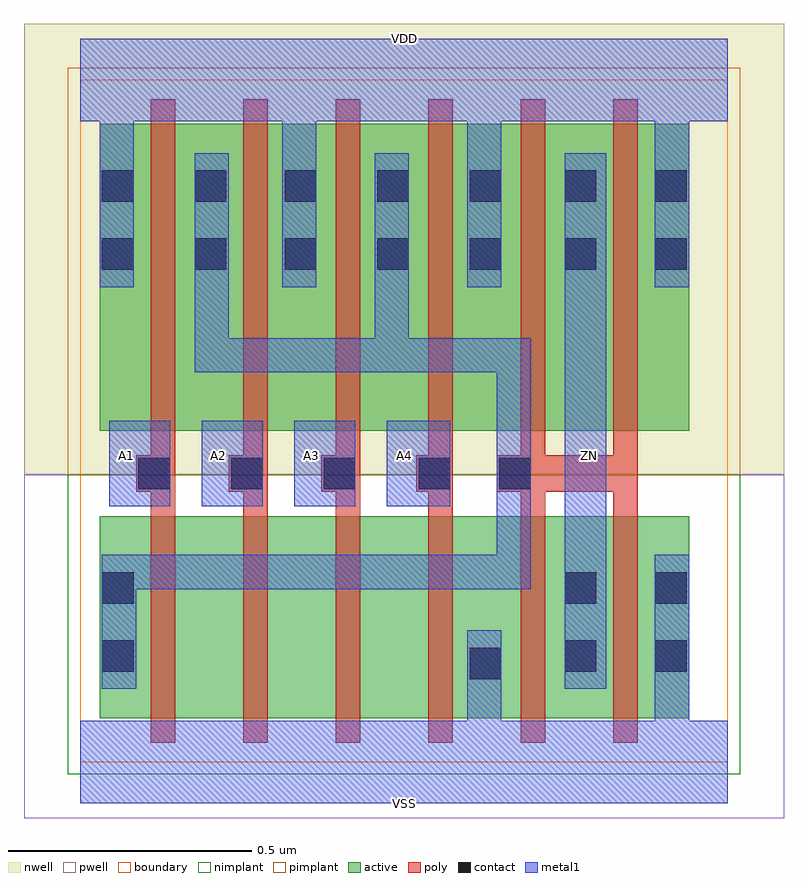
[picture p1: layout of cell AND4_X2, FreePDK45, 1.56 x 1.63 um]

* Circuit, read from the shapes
.subckt AND4_X2 A1 A2 A3 A4 VDD VSS ZN
M1 n1 A1 n2 VSUBS nfet w=0.415u l=0.05u
M2 n3 A2 n1 VSUBS nfet w=0.415u l=0.05u
M3 n4 A3 n3 VSUBS nfet w=0.415u l=0.05u
M4 VSS A4 n4 VSUBS nfet w=0.415u l=0.05u
M5 ZN n2 VSS VSUBS nfet w=0.415u l=0.05u m=2
M6 n2 A1 VDD n5 pfet w=0.63u l=0.05u
M7 VDD A2 n2 n5 pfet w=0.63u l=0.05u
M8 n2 A3 VDD n5 pfet w=0.63u l=0.05u
M9 VDD A4 n2 n5 pfet w=0.63u l=0.05u
M10 ZN n2 VDD n5 pfet w=0.63u l=0.05u m=2
.ends

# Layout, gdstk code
import gdstk
lib = gdstk.Library(unit=1e-6, precision=5e-10)
def R(c, l, rs):  # rectangles x0, y0, x1, y1
    for r in rs: c.add(gdstk.rectangle(r[:2], r[2:], *l))
def A(c, l, x, y, w, h, nx, ny, dx, dy):  # array of equal rectangles
    R(c, l, [(x+i*dx, y+j*dy, x+i*dx+w, y+j*dy+h) for i in range(nx) for j in range(ny)])
def P(c, l, *ps):  # polygons
    for p in ps: c.add(gdstk.Polygon(p, *l))
active = (1, 0)
pwell = (2, 0)
nwell = (3, 0)
nimplant = (4, 0)
pimplant = (5, 0)
poly = (9, 0)
contact = (10, 0)
metal1 = (11, 0)
boundary = (235, 0)

and4_x2 = lib.new_cell('AND4_X2')
R(and4_x2, active, [(0.04,0.09,1.25,0.505), (0.04,0.68,1.25,1.31)])
R(and4_x2, pwell, [(-0.115,-0.115,1.445,0.59)])
R(and4_x2, nwell, [(-0.115,0.59,1.445,1.515)])
R(and4_x2, nimplant, [(-0.025,-0.025,1.355,0.59)])
R(and4_x2, pimplant, [(-0.025,0.59,1.355,1.425)])
P(and4_x2, poly, [(0.855,0.555),(0.905,0.555),(0.905,0.04),(0.955,0.04),(0.955,0.555),(1.095,0.555),(1.095,0.04),(1.145,0.04),(1.145,1.36),(1.095,1.36),(1.095,0.63),(0.955,0.63),(0.955,1.36),(0.905,1.36),(0.905,0.63),(0.855,0.63)],
  [(0.69,0.555),(0.715,0.555),(0.715,0.04),(0.765,0.04),(0.765,1.36),(0.715,1.36),(0.715,0.63),(0.69,0.63)],
  [(0.495,0.555),(0.525,0.555),(0.525,0.04),(0.575,0.04),(0.575,1.36),(0.525,1.36),(0.525,0.63),(0.495,0.63)],
  [(0.305,0.555),(0.335,0.555),(0.335,0.04),(0.385,0.04),(0.385,1.36),(0.335,1.36),(0.335,0.63),(0.305,0.63)],
  [(0.115,0.555),(0.145,0.555),(0.145,0.04),(0.195,0.04),(0.195,1.36),(0.145,1.36),(0.145,0.63),(0.115,0.63)])
A(and4_x2, contact, 0.12, 0.56, 0.065, 0.065, 3, 1, 0.19, 0)
A(and4_x2, contact, 0.42, 1.01, 0.065, 0.065, 3, 2, 0.19, 0.14)
R(and4_x2, contact, [(0.8,0.17,0.865,0.235), (0.045,0.185,0.11,0.25), (0.995,0.185,1.06,0.25), (1.18,0.185,1.245,0.25), (0.045,0.325,0.11,0.39), (0.995,0.325,1.06,0.39), (1.18,0.325,1.245,0.39), (0.695,0.56,0.76,0.625), (0.86,0.56,0.925,0.625), (0.045,1.01,0.11,1.075), (0.235,1.01,0.3,1.075), (0.995,1.01,1.06,1.075), (1.18,1.01,1.245,1.075), (0.045,1.15,0.11,1.215), (0.235,1.15,0.3,1.215), (0.995,1.15,1.06,1.215), (1.18,1.15,1.245,1.215)])
R(and4_x2, metal1, [(0.995,0.15,1.08,1.25), (0.995,0.15,1.08,1.25), (0.06,0.525,0.185,0.7), (0.06,0.525,0.185,0.7), (0.25,0.525,0.375,0.7), (0.25,0.525,0.375,0.7), (0.44,0.525,0.565,0.7), (0.44,0.525,0.565,0.7), (0.63,0.525,0.76,0.7), (0.63,0.525,0.76,0.7)])
P(and4_x2, metal1, [(0,-0.085),(1.33,-0.085),(1.33,0.085),(1.25,0.085),(1.25,0.425),(1.18,0.425),(1.18,0.085),(0.865,0.085),(0.865,0.27),(0.795,0.27),(0.795,0.085),(0,0.085)],
  [(0,1.315),(0.04,1.315),(0.04,0.975),(0.11,0.975),(0.11,1.315),(0.415,1.315),(0.415,0.975),(0.485,0.975),(0.485,1.315),(0.795,1.315),(0.795,0.975),(0.865,0.975),(0.865,1.315),(1.18,1.315),(1.18,0.975),(1.25,0.975),(1.25,1.315),(1.33,1.315),(1.33,1.485),(0,1.485)],
  [(0,1.315),(0.04,1.315),(0.04,0.975),(0.11,0.975),(0.11,1.315),(0.415,1.315),(0.415,0.975),(0.485,0.975),(0.485,1.315),(0.795,1.315),(0.795,0.975),(0.865,0.975),(0.865,1.315),(1.18,1.315),(1.18,0.975),(1.25,0.975),(1.25,1.315),(1.33,1.315),(1.33,1.485),(0,1.485)],
  [(0,-0.085),(1.33,-0.085),(1.33,0.085),(1.25,0.085),(1.25,0.425),(1.18,0.425),(1.18,0.085),(0.865,0.085),(0.865,0.27),(0.795,0.27),(0.795,0.085),(0,0.085)],
  [(0.235,0.8),(0.855,0.8),(0.855,0.425),(0.045,0.425),(0.045,0.15),(0.115,0.15),(0.115,0.355),(0.925,0.355),(0.925,0.87),(0.675,0.87),(0.675,1.25),(0.605,1.25),(0.605,0.87),(0.305,0.87),(0.305,1.25),(0.235,1.25)])
R(and4_x2, boundary, [(0,0,1.33,1.4)])
and4_x2.add(gdstk.Label('ZN', (1.045,0.63), layer=11, texttype=0))
and4_x2.add(gdstk.Label('VSS', (0.665,-0.085), layer=11, texttype=0))
and4_x2.add(gdstk.Label('VDD', (0.665,1.485), layer=11, texttype=0))
and4_x2.add(gdstk.Label('A4', (0.665,0.63), layer=11, texttype=0))
and4_x2.add(gdstk.Label('A3', (0.475,0.63), layer=11, texttype=0))
and4_x2.add(gdstk.Label('A2', (0.285,0.63), layer=11, texttype=0))
and4_x2.add(gdstk.Label('A1', (0.095,0.63), layer=11, texttype=0))

lib.write_gds('AND4_X2.gds')
